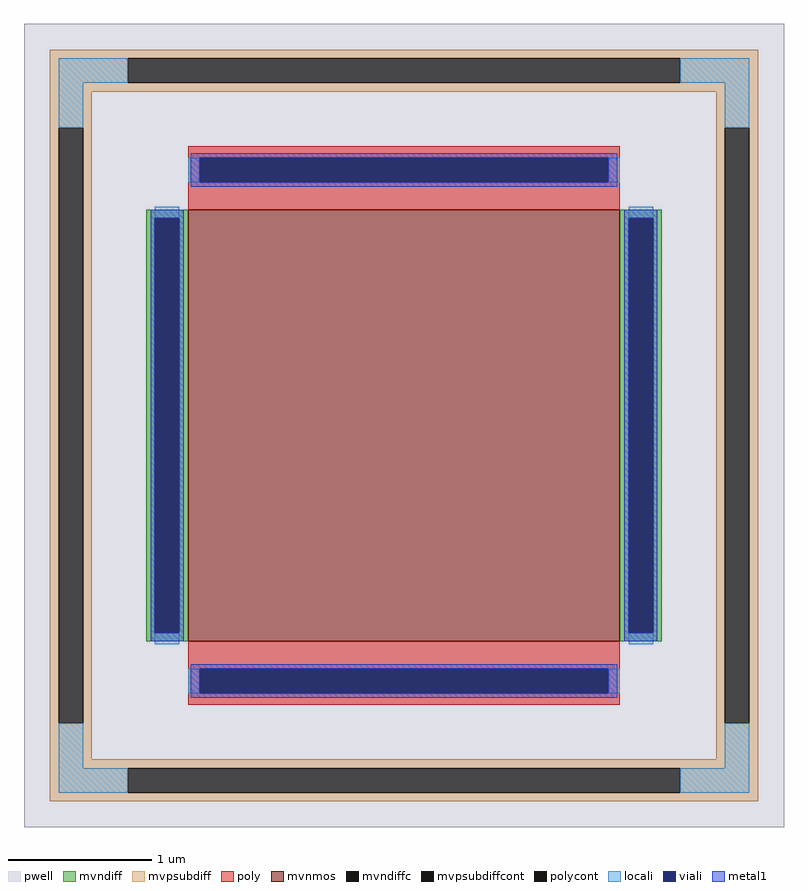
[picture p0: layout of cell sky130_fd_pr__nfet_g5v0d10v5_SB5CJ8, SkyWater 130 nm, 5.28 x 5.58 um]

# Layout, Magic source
magic
tech sky130A
<< pwell >>
rect -264 -279 264 279
<< mvnmos >>
rect -150 -150 150 150
<< mvndiff >>
rect -179 144 -150 150
rect -179 -144 -173 144
rect -156 -144 -150 144
rect -179 -150 -150 -144
rect 150 144 179 150
rect 150 -144 156 144
rect 173 -144 179 144
rect 150 -150 179 -144
<< mvndiffc >>
rect -173 -144 -156 144
rect 156 -144 173 144
<< mvpsubdiff >>
rect -246 255 246 261
rect -246 238 -192 255
rect 192 238 246 255
rect -246 232 246 238
rect -246 207 -217 232
rect -246 -207 -240 207
rect -223 -207 -217 207
rect 217 207 246 232
rect -246 -232 -217 -207
rect 217 -207 223 207
rect 240 -207 246 207
rect 217 -232 246 -207
rect -246 -238 246 -232
rect -246 -255 -192 -238
rect 192 -255 246 -238
rect -246 -261 246 -255
<< mvpsubdiffcont >>
rect -192 238 192 255
rect -240 -207 -223 207
rect 223 -207 240 207
rect -192 -255 192 -238
<< poly >>
rect -150 186 150 194
rect -150 169 -142 186
rect 142 169 150 186
rect -150 150 150 169
rect -150 -169 150 -150
rect -150 -186 -142 -169
rect 142 -186 150 -169
rect -150 -194 150 -186
<< polycont >>
rect -142 169 142 186
rect -142 -186 142 -169
<< locali >>
rect -240 238 -192 255
rect 192 238 240 255
rect -240 207 -223 238
rect 223 207 240 238
rect -150 169 -142 186
rect 142 169 150 186
rect -173 144 -156 152
rect -173 -152 -156 -144
rect 156 144 173 152
rect 156 -152 173 -144
rect -150 -186 -142 -169
rect 142 -186 150 -169
rect -240 -238 -223 -207
rect 223 -238 240 -207
rect -240 -255 -192 -238
rect 192 -255 240 -238
<< viali >>
rect -142 169 142 186
rect -173 -144 -156 144
rect 156 -144 173 144
rect -142 -186 142 -169
<< metal1 >>
rect -148 186 148 189
rect -148 169 -142 186
rect 142 169 148 186
rect -148 166 148 169
rect -176 144 -153 150
rect -176 -144 -173 144
rect -156 -144 -153 144
rect -176 -150 -153 -144
rect 153 144 176 150
rect 153 -144 156 144
rect 173 -144 176 144
rect 153 -150 176 -144
rect -148 -169 148 -166
rect -148 -186 -142 -169
rect 142 -186 148 -169
rect -148 -189 148 -186
<< properties >>
string FIXED_BBOX -231 -246 231 246
string gencell sky130_fd_pr__nfet_g5v0d10v5
string library sky130
string parameters w 3 l 3 m 1 nf 1 diffcov 100 polycov 100 guard 1 glc 1 grc 1 gtc 1 gbc 1 tbcov 100 rlcov 100 topc 1 botc 1 poverlap 0 doverlap 1 lmin 0.50 wmin 0.42 compatible {sky130_fd_pr__nfet_01v8 sky130_fd_pr__nfet_01v8_lvt  sky130_fd_bs_flash__special_sonosfet_star  sky130_fd_pr__nfet_g5v0d10v5 sky130_fd_pr__nfet_05v0_nvt  sky130_fd_pr__nfet_03v3_nvt} full_metal 1 viasrc 100 viadrn 100 viagate 100 viagb 0 viagr 0 viagl 0 viagt 0
<< end >>
